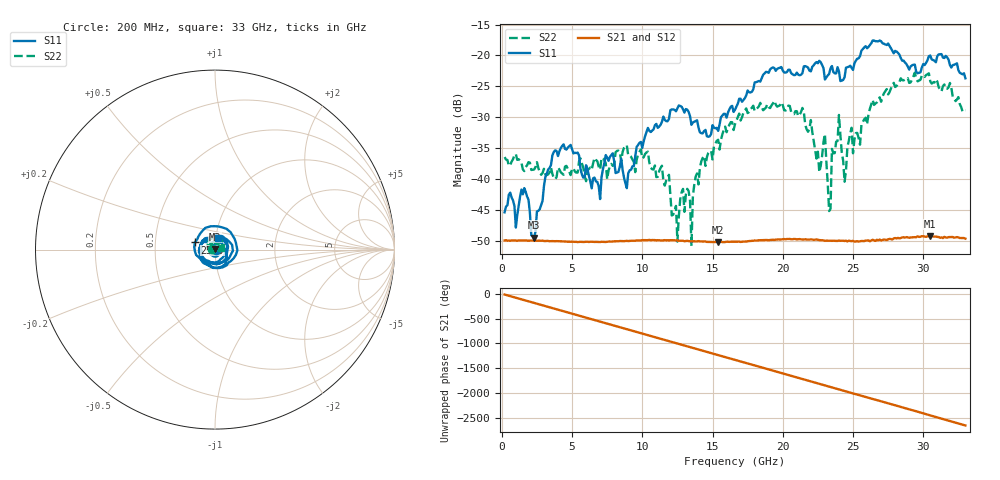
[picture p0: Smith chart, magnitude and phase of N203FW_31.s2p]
# GHZ S RI R 50
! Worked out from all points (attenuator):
!   329 points, 200 MHz to 33 GHz, reference 50 ohm
!   highest |S21| = -49.21 dB at 30.5 GHz (marker M1); lowest = -50.2 dB at 15.4 GHz (marker M2)
!   lowest |S11| = -49.5 dB at 2.3 GHz (marker M3), VSWR 1.01, Z = 50.1 + j0.332 ohm
!   |S11| at or under -10 dB: start of sweep to end of sweep
!   |S22| runs from -50.9 to -22.8 dB; largest |S21 - S12| = 8.9e-05
!   S11 on the Smith chart (normalised r, x): 200 MHz: 1.01, +0.00; 25.9 GHz: 0.80, +0.06; 33 GHz: 1.03, +0.13
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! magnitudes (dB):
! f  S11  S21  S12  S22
! 200 MHz  -45.4  -49.9  -49.9  -36.4
! 1.6 GHz  -41.5  -49.9  -49.9  -38.7
! 2.3 GHz  -49.5  -49.9  -50.0  -38.5
! 3.7 GHz  -35.6  -50.1  -50.0  -39.8
! 5.7 GHz  -39.2  -50.2  -50.2  -37.5
! 8.9 GHz  -41.5  -50.0  -50.0  -34.5
! 11.2 GHz  -31.5  -49.9  -49.9  -38.7
! 12.5 GHz  -28.6  -49.9  -49.9  -50.1
! 13.3 GHz  -29.1  -50.0  -50.1  -41.9
! 13.5 GHz  -31.2  -50.1  -50.1  -50.9
! 13.8 GHz  -30.6  -50.1  -50.1  -39.6
! 15.4 GHz  -32.2  -50.2  -50.2  -33.6
! 16.6 GHz  -28.8  -50.1  -50.1  -31.1
! 22.1 GHz  -21.8  -49.8  -49.8  -32.4
! 23 GHz  -23.9  -50.0  -50.0  -32.7
! 23.3 GHz  -23.0  -50.0  -50.0  -45.2
! 24 GHz  -22.6  -49.9  -50.0  -29.6
! 24.4 GHz  -23.5  -50.0  -49.9  -40.4
! 25.9 GHz  -18.5  -49.9  -50.0  -30.1
! 27.6 GHz  -18.4  -49.7  -49.7  -25.9
! 30.5 GHz  -20.0  -49.2  -49.3  -24.2
! 33 GHz  -23.7  -49.6  -49.7  -28.9
